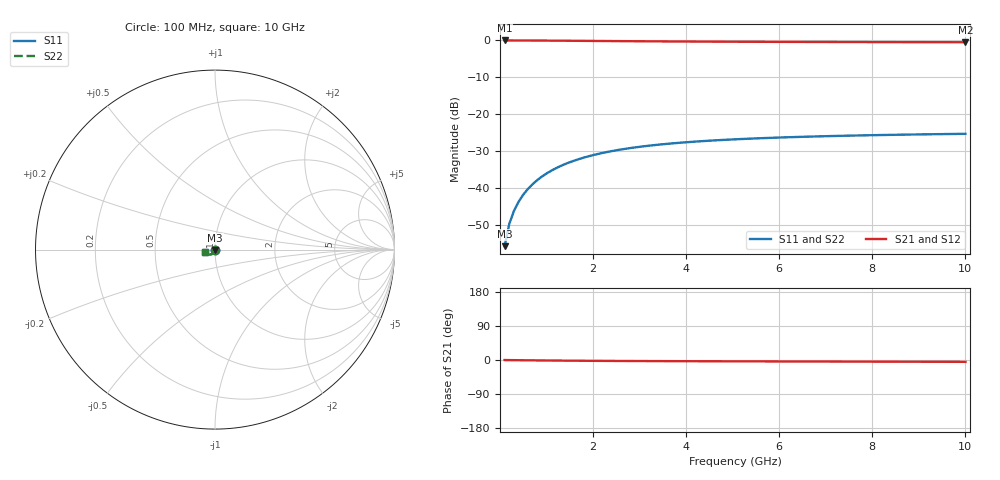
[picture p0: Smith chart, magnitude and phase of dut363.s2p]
! Touchstone file exported from HFSS 2024.1.0
!  File:  C:/UserFiles/LocalFiles/RDL_TSV_Batchsim/temp_TSV1_363_1779621094.aedt
!  Generated:  07:16:49 PM May 24, 2026
!  Design:  TSV1
!  Project:  temp_TSV1_363_1779621094
!  Setup:  Setup1
!  Solution:  Sweep
! Variables:
!  dtsv = 14.49um
!  hbump = 3um
!  htsv = 72.76um
!  lrdl = 252.1521522um
!  p = 40
!  p1 = 52.97um
!  t = 500um
!  trdl = 3um
!  wrdl = 24.89489489um
# GHz S MA R 50.000000
! Terminal data exported
! Port[1] = TSV22_T1
! Port[2] = TSV22_T2
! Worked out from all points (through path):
!   100 points, 100 MHz to 10 GHz, reference 50 ohm
!   highest |S21| = 0.00 dB at 100 MHz (marker M1); lowest = -0.5 dB at 10 GHz (marker M2)
!   lowest |S11| = -55.6 dB at 100 MHz (marker M3), VSWR 1.00, Z = 50 - j0.165 ohm
!   |S11| at or under -10 dB: start of sweep to end of sweep
!   |S22| runs from -55.6 to -25.3 dB; largest |S21 - S12| = 6e-15
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0.1  0.001653 -89.2  0.9999 -0.1  0.9999 -0.1  0.001653 -89.2
! Gamma 0 0 0 0
! Port Impedance 50 0 50 0
0.2  0.003304 -92.1  0.9997 -0.3  0.9997 -0.3  0.003304 -92.1
0.3  0.004953 -94.3  0.9994 -0.4  0.9994 -0.4  0.004953 -94.3
0.4  0.006591 -96.3  0.999 -0.5  0.999 -0.5  0.006591 -96.3
0.5  0.008211 -98.3  0.9986 -0.7  0.9986 -0.7  0.008211 -98.3
0.6  0.009807 -100.2  0.998 -0.8  0.998 -0.8  0.009807 -100.2
0.7  0.01138 -102.0  0.9974 -0.9  0.9974 -0.9  0.01138 -102.0
0.8  0.01291 -103.8  0.9966 -1.0  0.9966 -1.0  0.01291 -103.8
0.9  0.01441 -105.6  0.9959 -1.2  0.9959 -1.2  0.01441 -105.6
1.1  0.0173 -109.0  0.9942 -1.4  0.9942 -1.4  0.0173 -109.0
1.4  0.02131 -113.7  0.9913 -1.7  0.9913 -1.7  0.02131 -113.7
1.6  0.02376 -116.7  0.9892 -1.9  0.9892 -1.9  0.02376 -116.7
1.8  0.02604 -119.5  0.9871 -2.0  0.9871 -2.0  0.02604 -119.5
2.1  0.02914 -123.4  0.9839 -2.3  0.9839 -2.3  0.02914 -123.4
2.5  0.03272 -128.1  0.9798 -2.5  0.9798 -2.5  0.03272 -128.1
2.9  0.03576 -132.3  0.976 -2.7  0.976 -2.7  0.03576 -132.3
3.4  0.03893 -136.8  0.9718 -2.9  0.9718 -2.9  0.03893 -136.8
4.2  0.04288 -142.8  0.966 -3.2  0.966 -3.2  0.04288 -142.8
5.1  0.04618 -148.2  0.9608 -3.5  0.9608 -3.5  0.04618 -148.2
6.7  0.05018 -155.7  0.9543 -4.0  0.9543 -4.0  0.05018 -155.7
8.4  0.05289 -161.6  0.9496 -4.4  0.9496 -4.4  0.05289 -161.6
10  0.05463 -166.1  0.9466 -4.9  0.9466 -4.9  0.05463 -166.1
